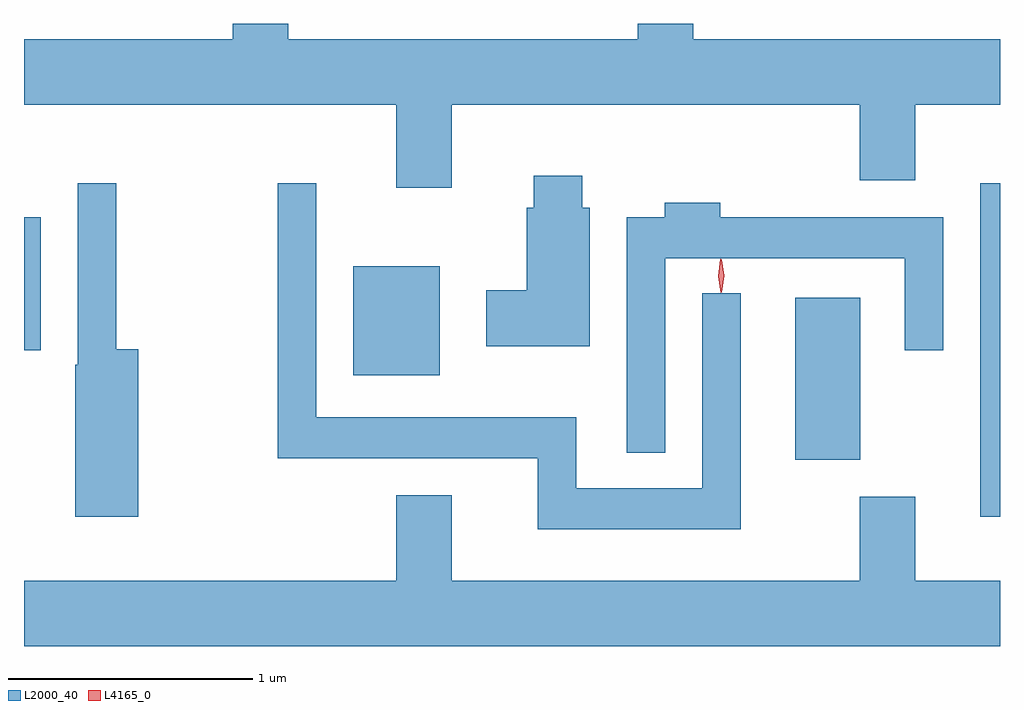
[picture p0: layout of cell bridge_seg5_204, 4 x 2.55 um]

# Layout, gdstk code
import gdstk
lib = gdstk.Library(unit=1e-6, precision=1e-09)
def R(c, l, rs):  # rectangles x0, y0, x1, y1
    for r in rs: c.add(gdstk.rectangle(r[:2], r[2:], *l))
def P(c, l, *ps):  # polygons
    for p in ps: c.add(gdstk.Polygon(p, *l))
L2000_40 = (2000, 40)
L4165_0 = (4165, 0)

bridge_seg5_204 = lib.new_cell('bridge_seg5_204')
R(bridge_seg5_204, L2000_40, [(1283.096,1421.806,1283.176,1423.173), (1282.336,1422.041,1282.604,1422.704), (1280.526,1422.386,1280.879,1422.834), (1279.176,1422.488,1279.244,1423.034)])
P(bridge_seg5_204, L2000_40, [(1280.929,1423.496),(1282.601,1423.496),(1282.601,1423.186),(1282.829,1423.186),(1282.829,1423.496),(1283.176,1423.496),(1283.176,1423.764),(1281.919,1423.764),(1281.919,1423.827),(1281.691,1423.827),(1281.691,1423.764),(1280.259,1423.764),(1280.259,1423.827),(1280.031,1423.827),(1280.031,1423.764),(1279.176,1423.764),(1279.176,1423.496),(1280.701,1423.496),(1280.701,1423.156),(1280.929,1423.156)],
  [(1281.494,1423.074),(1281.464,1423.074),(1281.464,1423.204),(1281.266,1423.204),(1281.266,1423.074),(1281.236,1423.074),(1281.236,1422.734),(1281.071,1422.734),(1281.071,1422.506),(1281.494,1422.506)],
  [(1279.644,1422.494),(1279.554,1422.494),(1279.554,1423.173),(1279.396,1423.173),(1279.396,1422.43),(1279.386,1422.43),(1279.386,1421.806),(1279.644,1421.806)],
  [(1282.114,1422.723),(1281.956,1422.723),(1281.956,1421.924),(1281.439,1421.924),(1281.439,1422.214),(1280.374,1422.214),(1280.374,1423.173),(1280.216,1423.173),(1280.216,1422.046),(1281.281,1422.046),(1281.281,1421.756),(1282.114,1421.756)],
  [(1281.804,1422.866),(1282.786,1422.866),(1282.786,1422.488),(1282.944,1422.488),(1282.944,1423.034),(1282.029,1423.034),(1282.029,1423.094),(1281.801,1423.094),(1281.801,1423.034),(1281.646,1423.034),(1281.646,1422.068),(1281.804,1422.068)],
  [(1283.176,1421.544),(1282.829,1421.544),(1282.829,1421.889),(1282.601,1421.889),(1282.601,1421.544),(1280.929,1421.544),(1280.929,1421.894),(1280.701,1421.894),(1280.701,1421.544),(1279.176,1421.544),(1279.176,1421.276),(1283.176,1421.276)])
P(bridge_seg5_204, L4165_0, [(1282.031,1422.724),(1282.021,1422.793),(1282.03,1422.862),(1282.031,1422.863),(1282.032,1422.862),(1282.041,1422.793),(1282.032,1422.724),(1282.032,1422.724)],
  [(1282.034,1422.727),(1282.025,1422.794),(1282.034,1422.86),(1282.035,1422.861),(1282.035,1422.86),(1282.045,1422.794),(1282.035,1422.727),(1282.035,1422.727)])

lib.write_gds('bridge_seg5_204.gds')
